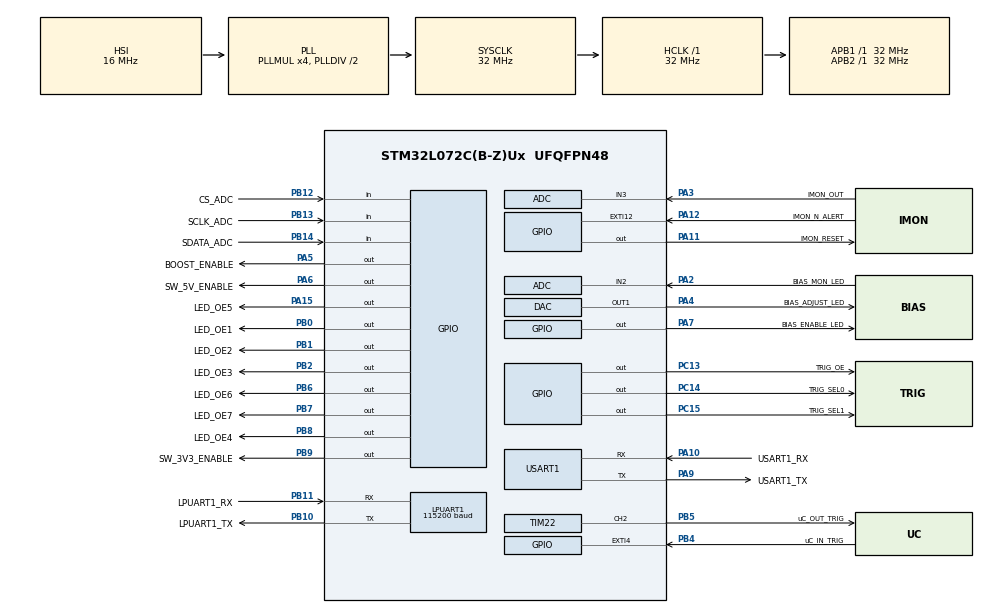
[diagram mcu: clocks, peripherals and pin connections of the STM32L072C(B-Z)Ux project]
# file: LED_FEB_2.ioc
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ADC.DiscontinuousConvMode=ENABLE
ADC.EOCSelection=ADC_EOC_SINGLE_CONV
ADC.LowPowerAutoPowerOff=ENABLE
FREERTOS.Tasks01=defaultTask,0,128,StartDefaultTask,Default,NULL,Dynamic,NULL,NULL
LPUART1.BaudRate=115200
LPUART1.WordLength=UART_WORDLENGTH_8B
Mcu.Family=STM32L0
Mcu.Name=STM32L072C(B-Z)Ux
Mcu.Package=UFQFPN48
NVIC.FLASH_IRQn=true\:3\:0\:false\:false\:true\:true\:true\:true\:true
NVIC.RNG_LPUART1_IRQn=true\:3\:0\:false\:false\:true\:true\:true\:true\:true
NVIC.USART1_IRQn=true\:3\:0\:false\:false\:true\:true\:true\:true\:true
PA10.GPIO_Label=USART1_RX
PA10.Mode=Asynchronous
PA10.Signal=USART1_RX
PA11.GPIO_Label=IMON_RESET
PA11.Signal=GPIO_Output
PA12.GPIO_Label=IMON_N_ALERT
PA12.Signal=GPXTI12
PA13.GPIO_Label=SWDIO
PA13.Mode=Serial_Wire
PA13.Signal=SYS_SWDIO
PA14.GPIO_Label=SWCLK
PA14.Mode=Serial_Wire
PA14.Signal=SYS_SWCLK
PA15.GPIO_Label=LED_OE5
PA15.Signal=GPIO_Output
PA2.GPIO_Label=BIAS_MON_LED
PA2.Mode=IN2
PA2.Signal=ADC_IN2
PA3.GPIO_Label=IMON_OUT
PA3.Mode=IN3
PA3.Signal=ADC_IN3
PA4.GPIO_Label=BIAS_ADJUST_LED
PA4.Signal=COMP_DAC1_group
PA5.GPIO_Label=BOOST_ENABLE
PA5.Signal=GPIO_Output
PA6.GPIO_Label=SW_5V_ENABLE
PA6.Signal=GPIO_Output
PA7.GPIO_Label=BIAS_ENABLE_LED
PA7.Signal=GPIO_Output
PA9.GPIO_Label=USART1_TX
PA9.Mode=Asynchronous
PA9.Signal=USART1_TX
PB0.GPIO_Label=LED_OE1
PB0.Signal=GPIO_Output
PB1.GPIO_Label=LED_OE2
PB1.Signal=GPIO_Output
PB10.GPIO_Label=LPUART1_TX
PB10.Mode=Asynchronous
PB10.Signal=LPUART1_TX
PB11.GPIO_Label=LPUART1_RX
PB11.Mode=Asynchronous
PB11.Signal=LPUART1_RX
PB12.GPIO_Label=CS_ADC
PB12.Signal=GPIO_Input
PB13.GPIO_Label=SCLK_ADC
PB13.Signal=GPIO_Input
PB14.GPIO_Label=SDATA_ADC
PB14.Signal=GPIO_Input
PB2.GPIO_Label=LED_OE3
PB2.Signal=GPIO_Output
PB4.GPIO_Label=uC_IN_TRIG
PB4.Signal=GPXTI4
PB5.GPIO_Label=uC_OUT_TRIG
PB5.Signal=S_TIM22_CH2
PB6.GPIO_Label=LED_OE6
PB6.Signal=GPIO_Output
PB7.GPIO_Label=LED_OE7
PB7.Signal=GPIO_Output
PB8.GPIO_Label=LED_OE4
PB8.Signal=GPIO_Output
PB9.GPIO_Label=SW_3V3_ENABLE
PB9.Signal=GPIO_Output
PC13.GPIO_Label=TRIG_OE
PC13.Signal=GPIO_Output
PC14-OSC32_IN.GPIO_Label=TRIG_SEL0
PC14-OSC32_IN.Signal=GPIO_Output
PC15-OSC32_OUT.GPIO_Label=TRIG_SEL1
PC15-OSC32_OUT.Signal=GPIO_Output
ProjectManager.HeapSize=0x200
ProjectManager.StackSize=0x400
ProjectManager.TargetToolchain=STM32CubeIDE
RCC.AHBFreq_Value=32000000
RCC.APB1Freq_Value=32000000
RCC.APB1TimFreq_Value=32000000
RCC.APB2Freq_Value=32000000
RCC.APB2TimFreq_Value=32000000
RCC.HCLKFreq_Value=32000000
RCC.HSE_VALUE=8000000
RCC.HSI16_VALUE=16000000
RCC.HSI48_VALUE=48000000
RCC.HSI_VALUE=16000000
RCC.LSE_VALUE=32768
RCC.MSI_VALUE=2097000
RCC.PLLMUL=RCC_PLLMUL_4
RCC.SYSCLKFreq_VALUE=32000000
RCC.SYSCLKSource=RCC_SYSCLKSOURCE_PLLCLK
RCC.VCOOutputFreq_Value=64000000
SH.COMP_DAC1_group.0=DAC_OUT1,DAC_OUT1
SH.S_TIM22_CH2.0=TIM22_CH2,PWM Generation2 CH2
TIM22.Channel-PWM\ Generation2\ CH2=TIM_CHANNEL_2
USART1.VirtualMode-Asynchronous=VM_ASYNC
USART1.WordLength=WORDLENGTH_8B
VP_FREERTOS_VS_CMSIS_V1.Mode=CMSIS_V1
VP_TIM22_VS_ClockSourceINT.Mode=Internal
board=custom

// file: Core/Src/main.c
/* USER CODE BEGIN Header */

/**
  ******************************************************************************
  * @file           : main.c
  * @brief          : Main program body
  ******************************************************************************
  * @attention
  *
  * Copyright (c) 2024 STMicroelectronics.
  * All rights reserved.
  *
  * This software is licensed under terms that can be found in the LICENSE file
  * in the root directory of this software component.
  * If no LICENSE file comes with this software, it is provided AS-IS.
  *
  ******************************************************************************
  */

// Firmware for the LED Driver Board -  Mach III revision
// Changes history
//      Oct.   14, 2025 - Rolf S - ver. 0.2.0: add some safety checks
//      Sept   16, 2025 - Rolf S - ver. 0.1.1: cleanup and imported to github
//      August 10, 2025 - Rolf S - ver. 0.1.0: ported to M3,
// currently, left 3 digits need to be in range of 0..9 only see (*1*)
#define VERSION_MAYOR 0x0
#define VERSION_MINOR 0x2
#define VERSION_PATCH 0x0

/* USER CODE END Header */
#include "main.h"
#include "cmsis_os.h"

/* USER CODE BEGIN Includes */

#include <stdio.h>
#include <string.h>
#define LIGHTMODBUS_SLAVE
#define LIGHTMODBUS_SLAVE_FULL
#define LIGHTMODBUS_IMPL
#include <lightmodbus/lightmodbus.h>

/* USER CODE END Includes */

/* USER CODE BEGIN PTD */

typedef enum {false, true} bool;
typedef enum {chA, chB, both} DAC_ch;
typedef enum {board, internal, external} trig_source;

/* USER CODE END PTD */

/* USER CODE BEGIN PD */

#define N_BUF 32 // size of the serial buffers
#define N_COMM 32 // size of the buffer to store last command

#define LED_FEB_MB_COIL_BASE     1   // coil               1 bit  / rw
#define LED_FEB_MB_DISC_BASE 10001   // discrete input     1 bits / ro
#define LED_FEB_MB_INPR_BASE 30001   // input registers   16 bits / ro
#define LED_FEB_MB_HOLD_BASE 40001   // holding registers 16 bits / rw

// coils
#define C_POWER_ON            0
#define C_TRIGGER_ENABLE      1
#define C_LED_BIAS_ENABLE     2
#define C_FIRST_PULSE_FIX     3
#define C_RESET_ERROR_COUNT   4
#define POWER_ON              LED_FEB_MB_COIL_BASE+C_POWER_ON
#define TRIGGER_ENABLE        LED_FEB_MB_COIL_BASE+C_TRIGGER_ENABLE
#define LED_BIAS_ENABLE       LED_FEB_MB_COIL_BASE+C_LED_BIAS_ENABLE
#define FIRST_PULSE_FIX       LED_FEB_MB_COIL_BASE+C_FIRST_PULSE_FIX
#define RESET_ERROR_COUNT     LED_FEB_MB_COIL_BASE+C_RESET_ERROR_COUNT

// discrete input
#define D_POWER_STATUS        0
#define POWER_STATUS          LED_FEB_MB_DESC_BASE+D_POWER_STATUS

// input registers (mostly errors)
#define R_FIRMWARE_VERSION      0
#define R2_LED_BIAS_ADC_READ     1
#define R2_IMON_ADC_READ         2
#define R_LED_CURRENT_ERROR     3
#define R_LED_BIAS_ERROR        4
#define R_TRIG_SOURCE_ERR       5
#define R_LED_FEB_MB_SLAVE_ERR  6
#define R_LED_FEB_MB_GLOBAL_ERR 7
#define FIRMWARE_VERSION        LED_FEB_MB_INPR_BASE+R_FIRMWARE_VERSION
#define LED_BIAS_ADC_READ       LED_FEB_MB_INPR_BASE+R2_LED_BIAS_ADC_READ
#define IMON_ADC_READ           LED_FEB_MB_INPR_BASE+R2_IMON_ADC_READ
#define LED_CURRENT_ERROR       LED_FEB_MB_INPR_BASE+R_LED_CURRENT_ERROR
#define LED_BIAS_ERROR          LED_FEB_MB_INPR_BASE+R_LED_BIAS_ERROR
#define TRIG_SOURCE_ERR         LED_FEB_MB_INPR_BASE+R_TRIG_SOURCE_ERR
#define LED_FEB_MB_SLAVE_ERR    LED_FEB_MB_INPR_BASE+R_LED_FEB_MB_SLAVE_ERR
#define LED_FEB_MB_GLOBAL_ERR   LED_FEB_MB_INPR_BASE+R_LED_FEB_MB_GLOBAL_ERR

// holding registers
#define H_TRIGGER_SOURCE        0
#define H_LED_CHANNELS          1
#define H_LED_BIAS_DAC_SET      2
#define H_ALARM_THRESHOLD       3
#define H_uC_FLASH_FREQ         4
#define H_LIGHTMODBUS_SLAVE_ID  5
#define TRIGGER_SOURCE          LED_FEB_MB_HOLD_BASE+H_TRIGGER_SOURCE
#define LED_CHANNELS            LED_FEB_MB_HOLD_BASE+H_LED_CHANNELS
#define LED_BIAS_DAC_SET        LED_FEB_MB_HOLD_BASE+H_LED_BIAS_DAC_SET
#define ALARM_THRESHOLD         LED_FEB_MB_HOLD_BASE+H_ALARM_THRESHOLD
#define uC_FLASH_FREQ           LED_FEB_MB_HOLD_BASE+H_uC_FLASH_FREQ
#define LIGHTMODBUS_SLAVE_ID    LED_FEB_MB_HOLD_BASE+H_LIGHTMODBUS_SLAVE_ID

#define USE_SERIAL_1 1
/* USER CODE END PD */

ADC_HandleTypeDef hadc;

DAC_HandleTypeDef hdac;

UART_HandleTypeDef hlpuart1;
UART_HandleTypeDef huart1;

TIM_HandleTypeDef htim22;

osThreadId defaultTaskHandle;
/* USER CODE BEGIN PV */

uint16_t bias_adc[5];
uint16_t imon_adc[5];

uint32_t value_adc;	// ADC1, 2 testing

bool timer_on = false; // flag for the timer used to generate the pulses
trig_source trig_src = board; // variable holds the trigger source
uint32_t trig_rate_fact; // variable used to scale the PWM frequency

uint8_t buf_1[N_BUF]; // data buffer for uart1
uint32_t write_1_pos = 0; // write pointer for uart1

// RS modbus - just used until ID is set externally !
#define SLAVE_ADDRESS 20

// registers are 16 bits wide !
#define REG_COUNT 16
static uint16_t registers[REG_COUNT];
static uint16_t inputRegisters[REG_COUNT];
static uint8_t coils[REG_COUNT / 8];          // Each coil corresponds to one bit
static uint8_t discreteInputs[REG_COUNT / 8]; // Each input corresponds to one bit

// Next, the slave structure has to be initialized:
ModbusSlave slave;

// RS enough I hope ...
#define RXFRAMESIZE 16
uint8_t rxframe[RXFRAMESIZE];
uint8_t length;

uint16_t LED_Pins[] = {  LED_OE1_Pin, LED_OE2_Pin, LED_OE3_Pin, LED_OE4_Pin, LED_OE5_Pin, LED_OE6_Pin, LED_OE7_Pin };
void* LED_GPIO[]    = {  LED_OE1_GPIO_Port,  LED_OE2_GPIO_Port,  LED_OE3_GPIO_Port,  LED_OE4_GPIO_Port,
			 LED_OE5_GPIO_Port,  LED_OE6_GPIO_Port,  LED_OE7_GPIO_Port };

// indicator to trigger power on/off in startDefaultTask
uint8_t power_changed=false;

// read / write slave ID from / to non-volotile RAM, based on
// https://community.st.com/t5/stm32-mcus-products/how-to-used-internal-eeprom-read-and-write-operation-of/td-p/460192
/* Private typedef -----------------------------------------------------------*/
/* Private define ------------------------------------------------------------*/
#define DATA_EEPROM_BASE_ADDR ((uint32_t)0x08080000) /* Data EEPROM base address */
#define DATA_EEPROM_END_ADDR ((uint32_t)0x080807FF) /* Data EEPROM end address */

/* USER CODE END PV */

void SystemClock_Config(void);
static void MX_GPIO_Init(void);
static void MX_ADC_Init(void);
static void MX_DAC_Init(void);
static void MX_LPUART1_UART_Init(void);
static void MX_USART1_UART_Init(void);
static void MX_TIM22_Init(void);
void StartDefaultTask(void const * argument);

/* USER CODE BEGIN PFP */

char msg[] = "000 ";
#if USE_SERIAL_1
// prints a C string on hlpuart1
void serial_1_print(char * message)
{
  if (message != NULL) {
    HAL_UART_Transmit(&hlpuart1, (uint8_t *)(message), strlen(message), 300);
  }
  return;
}

// prints a C string on hlpuart1 followed by return line control character
void serial_1_println(char * message)
{
  if (message != NULL) {
    HAL_UART_Transmit(&hlpuart1, (uint8_t *)(message), strlen(message), 300);
    HAL_UART_Transmit(&hlpuart1, (uint8_t *)("\r\n"), 2, 100);
  }
  return;
}
#endif

ModbusErrorInfo err;

// default callback function for received character interrupts
void HAL_UARTEx_RxEventCallback(UART_HandleTypeDef *huart, uint16_t size_buffer)
{
  // RS Use Ser #if USE_SERIAL_1
  if (huart == &hlpuart1) {
    write_1_pos++;
    HAL_UARTEx_ReceiveToIdle_IT(&hlpuart1, (buf_1 + write_1_pos%N_BUF), 1);
  }
  else {
  // RS Use Ser #endif
    if (huart == &huart1) {
      err = modbusParseRequestRTU(&slave,
				  registers[LIGHTMODBUS_SLAVE_ID - LED_FEB_MB_HOLD_BASE],
				  rxframe, size_buffer);

      // Handle 'serious' errors such as memory allocation problems
      if (modbusGetGeneralError(err))
        registers[R_LED_FEB_MB_GLOBAL_ERR]=err.error;
      // Handle errors related to the structure of the request frame
      // i.e. frames meant for other slaves, invalid CRC etc.
      // Usually, though, you want to simply ignore these.
      if (modbusGetRequestError(err))
        {
	  registers[R_LED_FEB_MB_SLAVE_ERR]=err.error;
	  // handleRequestErrors(err);
#if USE_SERIAL_1
	  serial_1_println("modbus error");
#endif
	}

      // If the function did not return an error, the response can be accessed and is ready to be sent
      // to the master. The response frame can be acquired using modbusSlaveGetResponse()
      // and is modbusSlaveGetResponseLength() bytes long. Beware that response frame can be empty
      // in some cases!
      if (modbusIsOk(err))
        HAL_UART_Transmit(&huart1, modbusSlaveGetResponse(&slave), modbusSlaveGetResponseLength(&slave), 1000);

      HAL_UARTEx_ReceiveToIdle_IT(&huart1, rxframe, RXFRAMESIZE);
    }
    // RS Use Ser #if USE_SERIAL_1
    }
  // RS Use Ser #endif
  return;
}

/* USER CODE END PFP */

/* USER CODE BEGIN 0 */

/* Unlock the EEPROM: */
void UnlockEeprom(void)
{
  int loop=0;
  /* Wait for FLASH to be free */
  while (((FLASH->SR & FLASH_SR_BSY) != 0) && loop < 5000)
    {
      /*   insert timeout test */
      __WFI();
      loop++;
#if USE_SERIAL_1
      serial_1_println("Unlocking EEPROM !!!");
#endif
    }
  /* If PELOCK is locked */
  if ((FLASH->PECR & FLASH_PECR_PELOCK) != 0)
    {
      /* Unlock PELOCK */
      FLASH->PEKEYR = FLASH_PEKEY1;
      FLASH->PEKEYR = FLASH_PEKEY2;
    }
  /* enable flash interrupts */
  FLASH->PECR = FLASH->PECR | (FLASH_PECR_ERRIE | FLASH_PECR_EOPIE);
}

/**
 * Brief This function programs a word of data EEPROM.
 * The ERASE bit and DATA bit are cleared in PECR at the beginning
 * words are automatically erased if required before programming
 * Param addr is the 32-bit EEPROM address to program, data is the 32 bit word to program
 * Retval None
 */
void EepromProgram_16(uint32_t addr, uint16_t ee_data)
{
  /* NOTE: The EEPROM must be unlocked and the flash interrupts must have
     been enabled prior to calling this function.*/
  *(uint16_t *)(addr) = ee_data;
  /* write data to EEPROM */
  // __WFI();
#if USE_SERIAL_1
  serial_1_println("AFT 1 ERROR WRITIN TO EEPROM !!!");
#endif
  if (*(uint16_t *)(addr) != ee_data)
    {
      // error |= ERROR_PROG_32B_WORD;
#if USE_SERIAL_1
      serial_1_println("ERROR WRITIN TO EEPROM !!!");
#endif
    }
}

/* Lock the EEPROM: */
void LockEeprom(void)
{
  int loop=0;
  /* Wait for FLASH to be free */
  while (((FLASH->SR & FLASH_SR_BSY) != 0) && loop < 500)
    {
      /*   insert timeout test */
      __WFI();
      loop++;
    }
  /* disable flash interrupts */
  FLASH->PECR = FLASH->PECR & ~(FLASH_PECR_ERRIE | FLASH_PECR_EOPIE);
  /* Lock memory with PELOCK */
  FLASH->PECR = FLASH->PECR | FLASH_PECR_PELOCK;
}

uint16_t Read_SID_from_EEPROM()
{
  uint16_t d = *(__IO uint16_t *)DATA_EEPROM_BASE_ADDR;

  /* #if USE_SERIAL_1
     for ( uint16_t l=0; l<d; ++l)
     serial_1_println("READING FROM FLASH !!!");
     HAL_Delay(250);
     #endif
  */
  // no error detection
  return d;
}
void Transfer_SID_to_EEPROM(uint16_t sid)
{
  /* Unlock the EEPROM and enable flash interrupts */
  UnlockEeprom();
#if USE_SERIAL_1
  serial_1_println("unlocked 1 !!!");
#endif

  // UnlockEeprom();
  /* Reset the ERASE and DATA
     bits in the FLASH_PECR register to disable any residual erase */
  FLASH->PECR = FLASH->PECR & ~(FLASH_PECR_ERASE | FLASH_PECR_DATA);

#if USE_SERIAL_1
  serial_1_println("unlocked 2 !!!");
#endif
  /* Put the next line in a loop if sequential bits to be written with i as loop counter */
  EepromProgram_16(DATA_EEPROM_BASE_ADDR, sid);

#if USE_SERIAL_1
  serial_1_println("unlocked 3 !!!");
#endif
  LockEeprom(); /* Lock the EEPROM */

#if USE_SERIAL_1
  serial_1_println("WROTE TO FLASH !!!");
#endif
}

void FixFirstPulse()
{
  // fix first pulse issue
  // OE for trigger
  HAL_GPIO_WritePin (TRIG_OE_GPIO_Port,   TRIG_OE_Pin,   1);
  // select uC as trigger source
  HAL_GPIO_WritePin (TRIG_SEL1_GPIO_Port, TRIG_SEL1_Pin, 0);
  HAL_GPIO_WritePin (TRIG_SEL0_GPIO_Port, TRIG_SEL0_Pin, 1);

  // toggle trigger output pin few times
  HAL_GPIO_WritePin (uC_OUT_TRIG_GPIO_Port, uC_OUT_TRIG_Pin, 1);
  HAL_GPIO_WritePin (uC_OUT_TRIG_GPIO_Port, uC_OUT_TRIG_Pin, 0);
  HAL_GPIO_WritePin (uC_OUT_TRIG_GPIO_Port, uC_OUT_TRIG_Pin, 1);
  HAL_GPIO_WritePin (uC_OUT_TRIG_GPIO_Port, uC_OUT_TRIG_Pin, 0);

  // reset trigger input
  HAL_GPIO_WritePin (TRIG_SEL1_GPIO_Port, TRIG_SEL1_Pin, 0);
  HAL_GPIO_WritePin (TRIG_SEL0_GPIO_Port, TRIG_SEL0_Pin, 0);

  // will interfere currently with later code.
  // HAL_GPIO_WritePin (TRIG_OE_GPIO_Port,  TRIG_OE_Pin,        0);
}

void DAC_Value_SetLow()
{
  uint32_t dac_value = 0xFFF; // Value to load into DAC
  HAL_DAC_SetValue(&hdac, DAC_CHANNEL_1, DAC_ALIGN_12B_R, dac_value);  // write to DAC holding register
  HAL_DAC_Start(&hdac, DAC_CHANNEL_1);  // software trigger
  osDelay(10);
}

void PowerOn()
{
  // disable all LEDs
  for (uint32_t bit = 0; bit < 7; bit++)
    {
      HAL_GPIO_WritePin (LED_GPIO[bit], LED_Pins[bit], 0 );
    }
  // OLD: write_DAC_values(chA, 0xB76, 0x000); // set LED bias to about 6 V
  // now:
  DAC_Value_SetLow();
  /*  uint32_t dac_value = 0x0FFF; // minimum Value to load into DAC
      HAL_DAC_SetValue(&hdac, DAC_CHANNEL_1, DAC_ALIGN_12B_R, dac_value);  // write to DAC holding register
      HAL_DAC_Start(&hdac, DAC_CHANNEL_1);  // software trigger */
  // Power Enable Sequence
#if USE_SERIAL_1
  serial_1_println("in PON 0");
#endif
  HAL_GPIO_WritePin (SW_3V3_ENABLE_GPIO_Port, SW_3V3_ENABLE_Pin, 1);
#if USE_SERIAL_1
  serial_1_println("in PON 1");
#endif
  osDelay(100);
#if USE_SERIAL_1
  serial_1_println("in PON 2");
#endif
  HAL_GPIO_WritePin (SW_5V_ENABLE_GPIO_Port, SW_5V_ENABLE_Pin, 1);
#if USE_SERIAL_1
  serial_1_println("in PON 3");
#endif
  osDelay(100);
#if USE_SERIAL_1
  serial_1_println("in PON 4");
#endif
  HAL_GPIO_WritePin (BOOST_ENABLE_GPIO_Port, BOOST_ENABLE_Pin, 1);
#if USE_SERIAL_1
  serial_1_println("in PON 5");
#endif
  osDelay(100);
#if USE_SERIAL_1
  serial_1_println("in PON 6");
#endif
  osDelay(100);
#if USE_SERIAL_1
  serial_1_println("in PON 7");
#endif
  // FixFirstPulse();
  if (modbusMaskRead(coils, C_FIRST_PULSE_FIX))
    {
      FixFirstPulse();
    }
#if USE_SERIAL_1
  serial_1_println("in PON 8");
#endif
  /* moved to trigger source selection
  // Setup timer for pulsing
  __HAL_TIM_SET_AUTORELOAD(&htim22, (32 / 2) - 1); // provide some default rate (1MHz)
  __HAL_TIM_SET_COMPARE(&htim22, TIM_CHANNEL_2, (32 / 4) - 1);
  HAL_TIM_PWM_Start(&htim22, TIM_CHANNEL_2); * /
#if USE_SERIAL_1
  serial_1_println("in PON 9");
#endif
  */
#if USE_SERIAL_1
  serial_1_println("Board power is ON");
#endif

  modbusMaskWrite(discreteInputs, 0, 1);
}

void PowerOff()
{
  // disable all LEDs
  for (uint32_t bit = 0; bit < 7; bit++)
    {
      HAL_GPIO_WritePin (LED_GPIO[bit], LED_Pins[bit], 0 );
    }
  DAC_Value_SetLow();
  /* uint32_t dac_value = 0xFFF; // Value to load into DAC
     HAL_DAC_SetValue(&hdac, DAC_CHANNEL_1, DAC_ALIGN_12B_R, dac_value);  // write to DAC holding register
     HAL_DAC_Start(&hdac, DAC_CHANNEL_1);  // software trigger
     osDelay(100); */
  HAL_GPIO_WritePin (BOOST_ENABLE_GPIO_Port, BOOST_ENABLE_Pin, 0);
  osDelay(100);
  HAL_GPIO_WritePin (SW_5V_ENABLE_GPIO_Port, SW_5V_ENABLE_Pin, 0);
  osDelay(100);
  HAL_GPIO_WritePin (SW_3V3_ENABLE_GPIO_Port, SW_3V3_ENABLE_Pin, 0);
#if USE_SERIAL_1
  serial_1_println("Board power is OFF");
#endif
  modbusMaskWrite(discreteInputs, 0, 0);
}

void ADC_Read_values(uint16_t *bias, uint16_t *imon)
{
  HAL_ADC_Start(&hadc);
  uint8_t ret = HAL_ADC_PollForConversion(&hadc, 100 /*timeout*/);
  *bias = HAL_ADC_GetValue(&hadc);
  HAL_ADC_Start(&hadc);
  ret += HAL_ADC_PollForConversion(&hadc, 100 /*timeout*/);
  *imon = HAL_ADC_GetValue(&hadc);
  HAL_ADC_Stop(&hadc);
  inputRegisters[R2_LED_BIAS_ADC_READ] = *bias;
  inputRegisters[R2_IMON_ADC_READ] = *imon;
  if(ret !=0)
    inputRegisters[R_LED_BIAS_ERROR]++;
}

ModbusError myRegisterCallback(
    const ModbusSlave *status,
    const ModbusRegisterCallbackArgs *args,
    ModbusRegisterCallbackResult *result)
{
  uint16_t new_index=args->index;
  switch(args->type)
    {
    case MODBUS_HOLDING_REGISTER:
      new_index=args->index - LED_FEB_MB_HOLD_BASE;
      // there's one exception, and that's setting the SLAVE_ID,
      //  which goes into a holding register,
      //  but is at index "0". All other holding registers start
      //  at index 40001. We also accept
      //  this command only if the old SLAVE_ID is 20, the default
      if ( ( args->index == 0 ) && ( registers[H_LIGHTMODBUS_SLAVE_ID] == 20 ) )
	{
	  registers[H_LIGHTMODBUS_SLAVE_ID] = args->value;
	  Transfer_SID_to_EEPROM(registers[H_LIGHTMODBUS_SLAVE_ID]);
	}
      break;
    case MODBUS_INPUT_REGISTER:
      new_index=args->index - LED_FEB_MB_INPR_BASE;
      break;
    case MODBUS_COIL:
      new_index=args->index - LED_FEB_MB_COIL_BASE;
      break;
    case MODBUS_DISCRETE_INPUT:
      new_index=args->index - LED_FEB_MB_DISC_BASE;
      break;
    }
  switch (args->query)
    {
      // R/W access check
    case MODBUS_REGQ_R_CHECK:
    case MODBUS_REGQ_W_CHECK:
      // If result->exceptionCode of a read/write access query is not MODBUS_EXCEP_NONE,
      // an exception is reported by the slave. If result->exceptionCode is not set,
      // the behavior is undefined.
      inputRegisters[9]=args->type;
      inputRegisters[10]=new_index;
      result->exceptionCode = new_index < REG_COUNT ? MODBUS_EXCEP_NONE : MODBUS_EXCEP_ILLEGAL_ADDRESS;
      break;

      // Read register
      // no need to execute own code, just reading registers
    case MODBUS_REGQ_R:
      switch (args->type)
	{
        case MODBUS_HOLDING_REGISTER:
	  // deal with all cases - compiler would complain otherwise ...
	  switch(args->index)
	    {
            case TRIGGER_SOURCE:
            case LED_CHANNELS:
            case LED_BIAS_DAC_SET:
	    case LIGHTMODBUS_SLAVE_ID:
	      break;
	    }
          result->value = registers[new_index];
          break;
        case MODBUS_INPUT_REGISTER:
#if USE_SERIAL_1
	  // serial_1_println("in callback r ir");
#endif
	  switch(args->index)
	    {
            case LED_BIAS_ADC_READ:
	    case IMON_ADC_READ:
	      /* uint8_t ret=ADC_Read();
		 if(ret !=0)
		 inputRegisters[R_LED_BIAS_ERROR]++; */
	      // nop as ADC values now read out frequently,
	      //  with error counter increased if necessary
	      break;
	    }
          result->value = inputRegisters[new_index];
          break;
        case MODBUS_COIL:
#if USE_SERIAL_1
	  // serial_1_println("in callback r c");
#endif
          result->value = modbusMaskRead(coils, new_index);
          break;
        case MODBUS_DISCRETE_INPUT:
#if USE_SERIAL_1
	  // serial_1_println("in callback r dc");
#endif
          result->value = modbusMaskRead(discreteInputs, new_index);
          break;
	}
      break;

      // Write register, react to changes
    case MODBUS_REGQ_W:
#if USE_SERIAL_1
      //   serial_1_println("in callback w");
#endif
      switch (args->type)
	{
        case MODBUS_HOLDING_REGISTER:
#if USE_SERIAL_1
	  // serial_1_println("in callback w hr");
#endif
          registers[args->index - LED_FEB_MB_HOLD_BASE] = args->value;
          switch(args->index)
	    {
            case TRIGGER_SOURCE:
              // trigger source can only be 0, 1 or 2
              switch (args->value)
		{
                case 1:
		  // uC as source, set some timer as default (to remove it from PowerOn()
		  // Setup timer for pulsing
		  // provide some default rate (1MHz)
		  //		  __HAL_TIM_SET_AUTORELOAD(&htim22, (32 / 2) - 1);
		  //		  __HAL_TIM_SET_COMPARE(&htim22, TIM_CHANNEL_2, (32 / 4) - 1);
		  if ( registers[H_uC_FLASH_FREQ] >= 1 )
		    {
		      __HAL_TIM_SET_AUTORELOAD(&htim22, registers[H_uC_FLASH_FREQ] - 1);
		      __HAL_TIM_SET_COMPARE(&htim22, TIM_CHANNEL_2, registers[H_uC_FLASH_FREQ] / 2 - 1);
		      HAL_TIM_PWM_Start(&htim22, TIM_CHANNEL_2);
		    }
		  else
		    {
		      HAL_TIM_PWM_Stop(&htim22, TIM_CHANNEL_2);
		      // wrong input, increase error count
		      inputRegisters[R_TRIG_SOURCE_ERR]++;
		    }
		  /*  else
		      {
		      // default 1MHz
		      __HAL_TIM_SET_AUTORELOAD(&htim22, (32 / 2) - 1);
		      __HAL_TIM_SET_COMPARE(&htim22, TIM_CHANNEL_2, (32 / 4) - 1);
		      HAL_TIM_PWM_Start(&htim22, TIM_CHANNEL_2);
		      } */
                case 0:
                case 2:
		  HAL_GPIO_WritePin (TRIG_SEL1_GPIO_Port, TRIG_SEL1_Pin, (args->value & 2) > 0);
		  HAL_GPIO_WritePin (TRIG_SEL0_GPIO_Port, TRIG_SEL0_Pin, (args->value & 1) > 0);
		  HAL_TIM_PWM_Stop(&htim22, TIM_CHANNEL_2);
		  break;
                default:
		  // wrong input, increase error count
                  inputRegisters[R_TRIG_SOURCE_ERR]++;
                  break;
		}
              break;
            case LED_CHANNELS:
              uint8_t bit;
              for ( bit=0; bit<7; ++bit)
                HAL_GPIO_WritePin (LED_GPIO[bit], LED_Pins[bit], ( args->value & ( 1 << bit) ) > 0 );
	      for ( int s=0; s<5; ++s )
		imon_adc[s]=0;
              break;
            case LED_BIAS_DAC_SET:
	      // Configure and write to internal DAC
	      uint32_t dac_value = 0x0;
	      // update dac_value to load into DAC
	      dac_value=registers[H_LED_BIAS_DAC_SET];
	      HAL_DAC_SetValue(&hdac, DAC_CHANNEL_1, DAC_ALIGN_12B_R, dac_value);  // write to DAC holding register
	      HAL_DAC_Start(&hdac, DAC_CHANNEL_1);  // software trigger
	      break;
	    case LIGHTMODBUS_SLAVE_ID:
	      // done already
	      // registers[H_LIGHTMODBUS_SLAVE_ID] = args->value;
	      Transfer_SID_to_EEPROM(registers[H_LIGHTMODBUS_SLAVE_ID]);
	    }
          break;
        case MODBUS_COIL:
#if USE_SERIAL_1
	  // serial_1_println("in callback w c");
#endif
          modbusMaskWrite(coils, args->index - LED_FEB_MB_COIL_BASE, args->value);
          switch(args->index)
	    {
            case POWER_ON:
#if USE_SERIAL_1
	      // serial_1_println("in callback w c P0");
#endif
	      // TTT
	      power_changed=true;
	      // FIXME: rest below can go, logic in StartDefaulTask
	      if (args->value)
		{
#if USE_SERIAL_1
		  serial_1_println("in callback w c P1");
#endif
		  // power on will be issued later, in StartDefaultTask as it can
		  //  take time for the full task to finish
		  // TTT PowerOn();
#if USE_SERIAL_1
		  serial_1_println("in callback w c P1b");
#endif
		}
              else
		{
#if USE_SERIAL_1
		  serial_1_println("in callback w c P2");
#endif
		  // power off will be issued later, in StartDefaultTask as it can
		  //  take time for the full task to finish
		  // TTT PowerOff();
#if USE_SERIAL_1
		  serial_1_println("in callback w c P2b");
#endif
		}
#if USE_SERIAL_1
	      serial_1_println("in callback w c P3");
#endif
              break;
            case TRIGGER_ENABLE:
#if USE_SERIAL_1
	      serial_1_println("in callback w c T");
#endif
	      HAL_GPIO_WritePin (TRIG_OE_GPIO_Port,
                                 TRIG_OE_Pin, args->value);
              break;
            case LED_BIAS_ENABLE:
#if USE_SERIAL_1
	      serial_1_println("in callback w c L");
#endif
	      HAL_GPIO_WritePin (BIAS_ENABLE_LED_GPIO_Port,
				 BIAS_ENABLE_LED_Pin, args->value);
              break;
            case FIRST_PULSE_FIX:
#if USE_SERIAL_1
	      serial_1_println("in callback w c FFP");
#endif
	      // nothing to do, coil already set
              break;
            case RESET_ERROR_COUNT:
#if USE_SERIAL_1
	      serial_1_println("in callback w c REC");
#endif
	      for( int reg=R_LED_CURRENT_ERROR; reg <=R_LED_FEB_MB_GLOBAL_ERR; ++reg )
		inputRegisters[reg]=0;
              break;
	    }
          break;
        default:
          break;
	}
      break;
    }
#if USE_SERIAL_1
  //  serial_1_println("in callback done");
#endif

  // Always return MODBUS_OK
  return MODBUS_OK;
}
/*
void handleSlaveError(LIGHTMODBUS_RET_ERROR err)
{
   registers[14]=err.error;
}

void handleRequestErrors(LIGHTMODBUS_RET_ERROR err)
{
   registers[15]=err.error;
}
*/
// Next, the slave structure has to be initialized:
ModbusSlave slave;

/* Private macro -------------------------------------------------------------*/
/* Private variables ---------------------------------------------------------*/
/* USER CODE END 0 */

int main(void)
{
  /* USER CODE BEGIN 1 */

  inputRegisters[11]=LED_FEB_MB_COIL_BASE;
  inputRegisters[12]=LED_FEB_MB_DISC_BASE;
  inputRegisters[13]=LED_FEB_MB_INPR_BASE;
  inputRegisters[14]=LED_FEB_MB_HOLD_BASE;
  inputRegisters[R_FIRMWARE_VERSION] =
    0x100*VERSION_MAYOR+
    0x010*VERSION_MINOR+
    0x001*VERSION_PATCH;

  /* USER CODE END 1 */

  /* MCU Configuration--------------------------------------------------------*/

  /* Reset of all peripherals, Initializes the Flash interface and the Systick. */
  HAL_Init();

  /* Configure the system clock */
  SystemClock_Config();

  /* Initialize all configured peripherals */
  MX_GPIO_Init();
  MX_ADC_Init();
  MX_DAC_Init();
  MX_LPUART1_UART_Init();
  MX_USART1_UART_Init();
  MX_TIM22_Init();
  /* USER CODE BEGIN 2 */

  // default hardware initialization .... mostly disable everything
  HAL_GPIO_WritePin (uC_OUT_TRIG_GPIO_Port, uC_OUT_TRIG_Pin, 0); // disables external trigger
  HAL_GPIO_WritePin (TRIG_OE_GPIO_Port, TRIG_OE_Pin, 0); // disables output
  HAL_GPIO_WritePin (TRIG_SEL1_GPIO_Port, TRIG_SEL1_Pin, 0); // part of selecting input b00, main board
  HAL_GPIO_WritePin (TRIG_SEL0_GPIO_Port, TRIG_SEL0_Pin, 0); // part of selecting input b00, main board
  trig_src = board; // flags the trigger source set
  HAL_GPIO_WritePin (LED_OE1_GPIO_Port, LED_OE1_Pin, 0); // disables trigger of LED1 / channel 0
  HAL_GPIO_WritePin (LED_OE2_GPIO_Port, LED_OE2_Pin, 0); // disables trigger of LED2 / channel 1
  HAL_GPIO_WritePin (LED_OE3_GPIO_Port, LED_OE3_Pin, 0); // disables trigger of LED3 / channel 2
  HAL_GPIO_WritePin (LED_OE4_GPIO_Port, LED_OE4_Pin, 0); // disables trigger of LED4 / channel 3
  HAL_GPIO_WritePin (LED_OE5_GPIO_Port, LED_OE5_Pin, 0); // disables trigger of LED5 / channel 4
  HAL_GPIO_WritePin (LED_OE6_GPIO_Port, LED_OE6_Pin, 0); // disables trigger of LED6 / channel 5
  HAL_GPIO_WritePin (LED_OE7_GPIO_Port, LED_OE7_Pin, 0); // disables trigger of LED7 / channel 6

  // IMON reset disabled
  HAL_GPIO_WritePin (IMON_RESET_GPIO_Port, IMON_RESET_Pin, 0);

  // Make sure LED bias regulator is disabled
  HAL_GPIO_WritePin (BIAS_ENABLE_LED_GPIO_Port, BIAS_ENABLE_LED_Pin, 0);

  // read out SLAVE_ID from EEPROM and save it, or set it to default if zero
  registers[H_LIGHTMODBUS_SLAVE_ID] = Read_SID_from_EEPROM();
  if ( registers[H_LIGHTMODBUS_SLAVE_ID] == 0)
    registers[H_LIGHTMODBUS_SLAVE_ID] = SLAVE_ADDRESS;

  // IMON reset configured for 'latch' mode
  HAL_Delay(100);  // power stabilize
  /*   HAL_GPIO_WritePin (IMON_ALERT_RESET_GPIO_Port, IMON_ALERT_RESET_Pin, 1); // Set to latch current over threshold
   */
#if USE_SERIAL_1
  // start the reception of characters on both uarts
  HAL_UART_Receive_IT(&hlpuart1, (buf_1 + write_1_pos%N_BUF), 1);

  // print messages about the software and firmware for the user
  serial_1_print("Mach III LED driver board version ");
  /* currently, left 3 digits need to be in range of 0..9 only (*1*) */

  char ver_id[]="0.0.0";
  ver_id[0]+=VERSION_MAYOR;
  ver_id[2]+=VERSION_MINOR;
  ver_id[4]+=VERSION_PATCH;

  serial_1_println(ver_id);

  serial_1_print(" Slave_ID ");
  if ( registers[LIGHTMODBUS_SLAVE_ID - LED_FEB_MB_HOLD_BASE] > 100)
      serial_1_println("XX");
  else
    {
      char csid[]="00";
      csid[0]+=(registers[LIGHTMODBUS_SLAVE_ID - LED_FEB_MB_HOLD_BASE] / 10);
      csid[1]+=registers[LIGHTMODBUS_SLAVE_ID - LED_FEB_MB_HOLD_BASE] % 10;
      serial_1_println(csid);
    }
#endif
  // set the pulse duration to a large number
  trig_rate_fact = (uint32_t)32000 & 0xFFFF;
  // provide some default rate, 32 Mhz / 32,000 = 1 kHz
  __HAL_TIM_SET_AUTORELOAD(&htim22, (trig_rate_fact / 2) - 1);
  __HAL_TIM_SET_COMPARE(&htim22, TIM_CHANNEL_2, (trig_rate_fact / 4) - 1);
  timer_on = false;

  // Init slave
  err = modbusSlaveInit(
	   &slave,
	   myRegisterCallback,              // Callback for register operations
	   NULL, // myExceptionCallback,    // Callback for handling slave exceptions (optional)
	   modbusDefaultAllocator,          // Memory allocator for allocating responses
	   modbusSlaveDefaultFunctions,     // Set of supported functions
	   modbusSlaveDefaultFunctionCount  // Number of supported functions
			);

  // Check for errors
  // assert(modbusIsOk(err) && "modbusSlaveInit() failed");
  if(!modbusIsOk(err))
    {
      registers[R_LED_FEB_MB_GLOBAL_ERR]=err.error;
#if USE_SERIAL_1
      serial_1_println("Modbus error");
#endif
    }
#if USE_SERIAL_1
  serial_1_println("modbus ok");
#endif

  // start once waiting for interupts, will be then re-newed in callback
  HAL_UARTEx_ReceiveToIdle_IT(&huart1, rxframe, RXFRAMESIZE);
#if USE_SERIAL_1
  serial_1_println("uart1 ok");
#endif

  /* USER CODE END 2 */

  /* Create the thread(s) */
  /* definition and creation of defaultTask */
  osThreadDef(defaultTask, StartDefaultTask, osPriorityNormal, 0, 128);
  defaultTaskHandle = osThreadCreate(osThread(defaultTask), NULL);

  /* Start scheduler */
  osKernelStart();

  /* We should never get here as control is now taken by the scheduler */

  /* Infinite loop */
  /* USER CODE BEGIN WHILE */
  while (1) {
    osDelay(1000);
    /* USER CODE END WHILE */

  }
}

void SystemClock_Config(void)
{
  RCC_OscInitTypeDef RCC_OscInitStruct = {0};
  RCC_ClkInitTypeDef RCC_ClkInitStruct = {0};
  RCC_PeriphCLKInitTypeDef PeriphClkInit = {0};

  /** Configure the main internal regulator output voltage
  */
  __HAL_PWR_VOLTAGESCALING_CONFIG(PWR_REGULATOR_VOLTAGE_SCALE1);

  /** Initializes the RCC Oscillators according to the specified parameters
  * in the RCC_OscInitTypeDef structure.
  */
  RCC_OscInitStruct.OscillatorType = RCC_OSCILLATORTYPE_HSI;
  RCC_OscInitStruct.HSIState = RCC_HSI_ON;
  RCC_OscInitStruct.HSICalibrationValue = RCC_HSICALIBRATION_DEFAULT;
  RCC_OscInitStruct.PLL.PLLState = RCC_PLL_ON;
  RCC_OscInitStruct.PLL.PLLSource = RCC_PLLSOURCE_HSI;
  RCC_OscInitStruct.PLL.PLLMUL = RCC_PLLMUL_4;
  RCC_OscInitStruct.PLL.PLLDIV = RCC_PLLDIV_2;
  if (HAL_RCC_OscConfig(&RCC_OscInitStruct) != HAL_OK)
  {
    Error_Handler();
  }

  /** Initializes the CPU, AHB and APB buses clocks
  */
  RCC_ClkInitStruct.ClockType = RCC_CLOCKTYPE_HCLK|RCC_CLOCKTYPE_SYSCLK
                              |RCC_CLOCKTYPE_PCLK1|RCC_CLOCKTYPE_PCLK2;
  RCC_ClkInitStruct.SYSCLKSource = RCC_SYSCLKSOURCE_PLLCLK;
  RCC_ClkInitStruct.AHBCLKDivider = RCC_SYSCLK_DIV1;
  RCC_ClkInitStruct.APB1CLKDivider = RCC_HCLK_DIV1;
  RCC_ClkInitStruct.APB2CLKDivider = RCC_HCLK_DIV1;

  if (HAL_RCC_ClockConfig(&RCC_ClkInitStruct, FLASH_LATENCY_1) != HAL_OK)
  {
    Error_Handler();
  }
  PeriphClkInit.PeriphClockSelection = RCC_PERIPHCLK_USART1|RCC_PERIPHCLK_LPUART1;
  PeriphClkInit.Usart1ClockSelection = RCC_USART1CLKSOURCE_PCLK2;
  PeriphClkInit.Lpuart1ClockSelection = RCC_LPUART1CLKSOURCE_PCLK1;
  if (HAL_RCCEx_PeriphCLKConfig(&PeriphClkInit) != HAL_OK)
  {
    Error_Handler();
  }
}

static void MX_ADC_Init(void)
{

  ADC_ChannelConfTypeDef sConfig = {0};

  /** Configure the global features of the ADC (Clock, Resolution, Data Alignment and number of conversion)
  */
  hadc.Instance = ADC1;
  hadc.Init.OversamplingMode = DISABLE;
  hadc.Init.ClockPrescaler = ADC_CLOCK_SYNC_PCLK_DIV2;
  hadc.Init.Resolution = ADC_RESOLUTION_12B;
  hadc.Init.SamplingTime = ADC_SAMPLETIME_1CYCLE_5;
  hadc.Init.ScanConvMode = ADC_SCAN_DIRECTION_FORWARD;
  hadc.Init.DataAlign = ADC_DATAALIGN_RIGHT;
  hadc.Init.ContinuousConvMode = DISABLE;
  hadc.Init.DiscontinuousConvMode = ENABLE;
  hadc.Init.ExternalTrigConvEdge = ADC_EXTERNALTRIGCONVEDGE_NONE;
  hadc.Init.ExternalTrigConv = ADC_SOFTWARE_START;
  hadc.Init.DMAContinuousRequests = DISABLE;
  hadc.Init.EOCSelection = ADC_EOC_SINGLE_CONV;
  hadc.Init.Overrun = ADC_OVR_DATA_PRESERVED;
  hadc.Init.LowPowerAutoWait = DISABLE;
  hadc.Init.LowPowerFrequencyMode = DISABLE;
  hadc.Init.LowPowerAutoPowerOff = ENABLE;
  if (HAL_ADC_Init(&hadc) != HAL_OK)
  {
    Error_Handler();
  }

  /** Configure for the selected ADC regular channel to be converted.
  */
  sConfig.Channel = ADC_CHANNEL_2;
  sConfig.Rank = ADC_RANK_CHANNEL_NUMBER;
  if (HAL_ADC_ConfigChannel(&hadc, &sConfig) != HAL_OK)
  {
    Error_Handler();
  }

  /** Configure for the selected ADC regular channel to be converted.
  */
  sConfig.Channel = ADC_CHANNEL_3;
  if (HAL_ADC_ConfigChannel(&hadc, &sConfig) != HAL_OK)
  {
    Error_Handler();
  }

}

static void MX_DAC_Init(void)
{

  DAC_ChannelConfTypeDef sConfig = {0};

  /** DAC Initialization
  */
  hdac.Instance = DAC;
  if (HAL_DAC_Init(&hdac) != HAL_OK)
  {
    Error_Handler();
  }

  /** DAC channel OUT1 config
  */
  sConfig.DAC_Trigger = DAC_TRIGGER_NONE;
  sConfig.DAC_OutputBuffer = DAC_OUTPUTBUFFER_ENABLE;
  if (HAL_DAC_ConfigChannel(&hdac, &sConfig, DAC_CHANNEL_1) != HAL_OK)
  {
    Error_Handler();
  }

}

static void MX_LPUART1_UART_Init(void)
{

  hlpuart1.Instance = LPUART1;
  hlpuart1.Init.BaudRate = 115200;
  hlpuart1.Init.WordLength = UART_WORDLENGTH_8B;
  hlpuart1.Init.StopBits = UART_STOPBITS_1;
  hlpuart1.Init.Parity = UART_PARITY_NONE;
  hlpuart1.Init.Mode = UART_MODE_TX_RX;
  hlpuart1.Init.HwFlowCtl = UART_HWCONTROL_NONE;
  hlpuart1.Init.OneBitSampling = UART_ONE_BIT_SAMPLE_DISABLE;
  hlpuart1.AdvancedInit.AdvFeatureInit = UART_ADVFEATURE_NO_INIT;
  if (HAL_UART_Init(&hlpuart1) != HAL_OK)
  {
    Error_Handler();
  }

}

static void MX_USART1_UART_Init(void)
{

  huart1.Instance = USART1;
  huart1.Init.BaudRate = 115200;
  huart1.Init.WordLength = UART_WORDLENGTH_8B;
  huart1.Init.StopBits = UART_STOPBITS_1;
  huart1.Init.Parity = UART_PARITY_NONE;
  huart1.Init.Mode = UART_MODE_TX_RX;
  huart1.Init.HwFlowCtl = UART_HWCONTROL_NONE;
  huart1.Init.OverSampling = UART_OVERSAMPLING_16;
  huart1.Init.OneBitSampling = UART_ONE_BIT_SAMPLE_DISABLE;
  huart1.AdvancedInit.AdvFeatureInit = UART_ADVFEATURE_NO_INIT;
  if (HAL_UART_Init(&huart1) != HAL_OK)
  {
    Error_Handler();
  }

}

static void MX_TIM22_Init(void)
{

  TIM_ClockConfigTypeDef sClockSourceConfig = {0};
  TIM_MasterConfigTypeDef sMasterConfig = {0};
  TIM_OC_InitTypeDef sConfigOC = {0};

  htim22.Instance = TIM22;
  htim22.Init.Prescaler = 0;
  htim22.Init.CounterMode = TIM_COUNTERMODE_UP;
  htim22.Init.Period = 65535;
  htim22.Init.ClockDivision = TIM_CLOCKDIVISION_DIV1;
  htim22.Init.AutoReloadPreload = TIM_AUTORELOAD_PRELOAD_DISABLE;
  if (HAL_TIM_Base_Init(&htim22) != HAL_OK)
  {
    Error_Handler();
  }
  sClockSourceConfig.ClockSource = TIM_CLOCKSOURCE_INTERNAL;
  if (HAL_TIM_ConfigClockSource(&htim22, &sClockSourceConfig) != HAL_OK)
  {
    Error_Handler();
  }
  if (HAL_TIM_PWM_Init(&htim22) != HAL_OK)
  {
    Error_Handler();
  }
  sMasterConfig.MasterOutputTrigger = TIM_TRGO_RESET;
  sMasterConfig.MasterSlaveMode = TIM_MASTERSLAVEMODE_DISABLE;
  if (HAL_TIMEx_MasterConfigSynchronization(&htim22, &sMasterConfig) != HAL_OK)
  {
    Error_Handler();
  }
  sConfigOC.OCMode = TIM_OCMODE_PWM1;
  sConfigOC.Pulse = 0;
  sConfigOC.OCPolarity = TIM_OCPOLARITY_HIGH;
  sConfigOC.OCFastMode = TIM_OCFAST_DISABLE;
  if (HAL_TIM_PWM_ConfigChannel(&htim22, &sConfigOC, TIM_CHANNEL_2) != HAL_OK)
  {
    Error_Handler();
  }
  HAL_TIM_MspPostInit(&htim22);

}

static void MX_GPIO_Init(void)
{
  GPIO_InitTypeDef GPIO_InitStruct = {0};

  /* GPIO Ports Clock Enable */
  __HAL_RCC_GPIOC_CLK_ENABLE();
  __HAL_RCC_GPIOA_CLK_ENABLE();
  __HAL_RCC_GPIOB_CLK_ENABLE();

  /*Configure GPIO pin Output Level */
  HAL_GPIO_WritePin(GPIOC, TRIG_OE_Pin|TRIG_SEL0_Pin|TRIG_SEL1_Pin, GPIO_PIN_RESET);

  /*Configure GPIO pin Output Level */
  HAL_GPIO_WritePin(GPIOA, BOOST_ENABLE_Pin|SW_5V_ENABLE_Pin|
		    BIAS_ENABLE_LED_Pin|IMON_RESET_Pin|
		    LED_OE5_Pin, GPIO_PIN_RESET);

  /*Configure GPIO pin Output Level */
  HAL_GPIO_WritePin(GPIOB, LED_OE1_Pin|LED_OE2_Pin|LED_OE3_Pin|LED_OE6_Pin
                          |LED_OE7_Pin|LED_OE4_Pin|SW_3V3_ENABLE_Pin, GPIO_PIN_RESET);

  /*Configure GPIO pins : TRIG_OE_Pin TRIG_SEL0_Pin TRIG_SEL1_Pin */
  GPIO_InitStruct.Pin = TRIG_OE_Pin|TRIG_SEL0_Pin|TRIG_SEL1_Pin;
  GPIO_InitStruct.Mode = GPIO_MODE_OUTPUT_PP;
  GPIO_InitStruct.Pull = GPIO_NOPULL;
  GPIO_InitStruct.Speed = GPIO_SPEED_FREQ_LOW;
  HAL_GPIO_Init(GPIOC, &GPIO_InitStruct);

  /*Configure GPIO pins : BOOST_ENABLE_Pin SW_5V_ENABLE_Pin BIAS_ENABLE_LED_Pin IMON_RESET_Pin
                           LED_OE5_Pin */
  GPIO_InitStruct.Pin = BOOST_ENABLE_Pin|SW_5V_ENABLE_Pin|BIAS_ENABLE_LED_Pin
    |IMON_RESET_Pin|LED_OE5_Pin;
  GPIO_InitStruct.Mode = GPIO_MODE_OUTPUT_PP;
  GPIO_InitStruct.Pull = GPIO_NOPULL;
  GPIO_InitStruct.Speed = GPIO_SPEED_FREQ_LOW;
  HAL_GPIO_Init(GPIOA, &GPIO_InitStruct);

  /*Configure GPIO pins : LED_OE1_Pin LED_OE2_Pin LED_OE3_Pin LED_OE6_Pin
                           LED_OE7_Pin LED_OE4_Pin SW_3V3_ENABLE_Pin */
  GPIO_InitStruct.Pin = LED_OE1_Pin|LED_OE2_Pin|LED_OE3_Pin|LED_OE6_Pin
                          |LED_OE7_Pin|LED_OE4_Pin|SW_3V3_ENABLE_Pin;
  GPIO_InitStruct.Mode = GPIO_MODE_OUTPUT_PP;
  GPIO_InitStruct.Pull = GPIO_NOPULL;
  GPIO_InitStruct.Speed = GPIO_SPEED_FREQ_LOW;
  HAL_GPIO_Init(GPIOB, &GPIO_InitStruct);

  /*Configure GPIO pins : CS_ADC_Pin SCLK_ADC_Pin SDATA_ADC_Pin */
  GPIO_InitStruct.Pin = CS_ADC_Pin|SCLK_ADC_Pin|SDATA_ADC_Pin;
  GPIO_InitStruct.Mode = GPIO_MODE_INPUT;
  GPIO_InitStruct.Pull = GPIO_NOPULL;
  HAL_GPIO_Init(GPIOB, &GPIO_InitStruct);

  /*Configure GPIO pin : IMON_N_ALERT_Pin */
  GPIO_InitStruct.Pin = IMON_N_ALERT_Pin;
  GPIO_InitStruct.Mode = GPIO_MODE_IT_RISING;
  GPIO_InitStruct.Pull = GPIO_NOPULL;
  HAL_GPIO_Init(IMON_N_ALERT_GPIO_Port, &GPIO_InitStruct);

  /*Configure GPIO pin : uC_IN_TRIG_Pin */
  GPIO_InitStruct.Pin = uC_IN_TRIG_Pin;
  GPIO_InitStruct.Mode = GPIO_MODE_IT_RISING;
  GPIO_InitStruct.Pull = GPIO_NOPULL;
  HAL_GPIO_Init(uC_IN_TRIG_GPIO_Port, &GPIO_InitStruct);

}

/* USER CODE BEGIN 4 */
// test for alarm in bias current too high.
// condition:
//  no LED enabled, but current
//  or flashes triggered.
void test_for_alarm()
{
  if ( ( 5 * registers[H_ALARM_THRESHOLD] <
       imon_adc[0]+
       imon_adc[1]+
       imon_adc[2]+
       imon_adc[3]+
       imon_adc[4] ) &&
       registers[H_LED_CHANNELS] == 0 )
    inputRegisters[R_LED_CURRENT_ERROR]++;
}
/* USER CODE END 4 */

void StartDefaultTask(void const * argument)
{
  /* USER CODE BEGIN 5 */
  char c='0';
  /* Infinite loop */
  for(;;)
  {
    osDelay(100);
    c++;
    if ( c > '9' )
      c='0';
    msg[0]=c;
    if(power_changed)
      {
	if (modbusMaskRead(coils, C_POWER_ON) )
	  {
	    msg[2]='1';
	    PowerOn();
	  }
	else
	  {
	    msg[2]='0';
	    PowerOff();
	  }
	power_changed=false;
      }
#if USE_SERIAL_1
    serial_1_print(msg);
    serial_1_println(" in StartDefaultTask");
    // reduce time here
    // add loop over ADC read imon
    for ( int i=0; i<40; ++i)
      {
	/* for ( int l(0); l<4; ++l)
	   {
	   bias_adc[l+1]=bias_adc[l];
	   imon_adc[l+1]=imon_adc[l];
	   }
	ADC_Read_values(bias_adc[0], imon_adc[0]); */
	ADC_Read_values(&bias_adc[i % 5], &imon_adc[i % 5]);
	test_for_alarm();
	osDelay(25);
      }
    // osDelay(1000);
    //
#endif
  }
  /* USER CODE END 5 */
}

void Error_Handler(void)
{
  __disable_irq();
  while (1)
  {
  }
}
